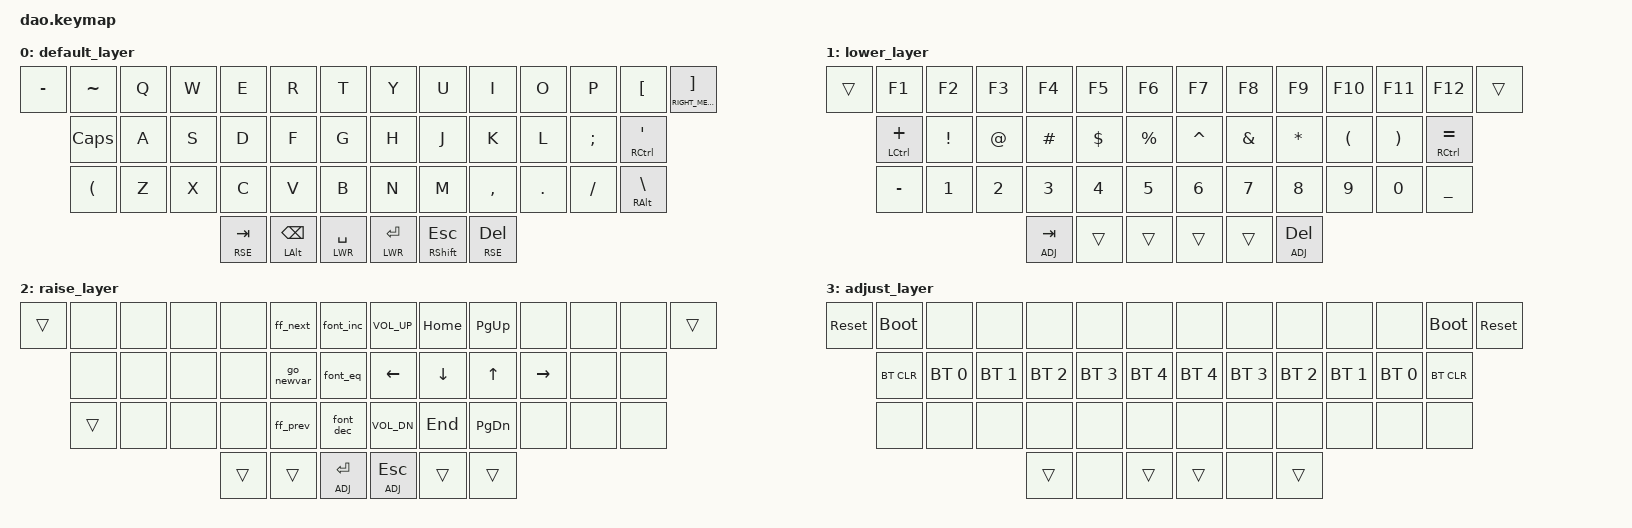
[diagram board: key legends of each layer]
/*
 * Copyright (c) 2021 Rafael Yumagulov
 *
 * SPDX-License-Identifier: MIT
 */

#include <behaviors.dtsi>
#include <dt-bindings/zmk/bt.h>
#include <dt-bindings/zmk/keys.h>

#define DEF 0
#define LWR 1
#define RSE 2
#define ADJ 3

&lt { quick_tap_ms = <200>; };

&mt { quick_tap_ms = <200>; };

/ {
    chosen {
        // zmk,matrix_transform = &default_transform;

        zmk,matrix_transform = &extra_keys_transform;
    };
};

/ {
    macros {
        font_inc: font_inc {
            compatible = "zmk,behavior-macro";
            #binding-cells = <0>;
            bindings = <&kp LC(EQUAL)>;
            label = "FONT_INC";
        };

        font_eq: font_eq {
            compatible = "zmk,behavior-macro";
            #binding-cells = <0>;
            bindings = <&kp LC(NUMBER_0)>;
            label = "FONT_EQ";
        };

        font_dec: font_dec {
            compatible = "zmk,behavior-macro";
            #binding-cells = <0>;
            bindings = <&kp LC(MINUS)>;
            label = "FONT_DEC";
        };

        ff_prev: ff_prev {
            compatible = "zmk,behavior-macro";
            #binding-cells = <0>;
            bindings = <&kp LC(PAGE_UP)>;
            label = "FF_PREV";
        };

        ff_next: ff_next {
            compatible = "zmk,behavior-macro";
            #binding-cells = <0>;
            bindings = <&kp LC(PAGE_DOWN)>;
            label = "FF_NEXT";
        };

        go_newvar: go_newvar {
            compatible = "zmk,behavior-macro";
            #binding-cells = <0>;
            bindings = <&kp COLON &kp EQUAL>;
            label = "GO_NEWVAR";
        };
    };

    keymap {
        compatible = "zmk,keymap";

        default_layer {
            bindings = <
&kp MINUS  &kp TILDE             &kp Q  &kp W  &kp E        &kp R                   &kp T            &kp Y        &kp U             &kp I           &kp O    &kp P     &kp LBKT       &mt RIGHT_META RIGHT_BRACKET
           &kp CAPSLOCK          &kp A  &kp S  &kp D        &kp F                   &kp G            &kp H        &kp J             &kp K           &kp L    &kp SEMI  &mt RCTRL SQT
           &kp LEFT_PARENTHESIS  &kp Z  &kp X  &kp C        &kp V                   &kp B            &kp N        &kp M             &kp COMMA       &kp DOT  &kp FSLH  &mt RALT BSLH
                                               &lt RSE TAB  &mt LEFT_ALT BACKSPACE  &lt LWR SPACE    &lt LWR RET  &mt RSHFT ESCAPE  &lt RSE DELETE
            >;
        };

        lower_layer {
            bindings = <
&trans  &kp F1          &kp F2    &kp F3  &kp F4       &kp F5    &kp F6       &kp F7     &kp F8    &kp F9       &kp F10               &kp F11                &kp F12          &trans
        &mt LCTRL PLUS  &kp EXCL  &kp AT  &kp HASH     &kp DLLR  &kp PRCNT    &kp CARET  &kp AMPS  &kp STAR     &kp LEFT_PARENTHESIS  &kp RIGHT_PARENTHESIS  &mt RCTRL EQUAL
        &kp MINUS       &kp N1    &kp N2  &kp N3       &kp N4    &kp N5       &kp N6     &kp N7    &kp N8       &kp N9                &kp N0                 &kp UNDERSCORE
                                          &lt ADJ TAB  &trans    &trans       &trans     &trans    &lt ADJ DEL
            >;
        };

        raise_layer {
            bindings = <
&trans  &none   &none  &none  &none   &ff_next    &font_inc      &kp C_VOL_UP    &kp HOME        &kp PAGE_UP    &none      &none  &none  &trans
        &none   &none  &none  &none   &go_newvar  &font_eq       &kp LEFT_ARROW  &kp DOWN_ARROW  &kp UP         &kp RIGHT  &none  &none
        &trans  &none  &none  &none   &ff_prev    &font_dec      &kp C_VOL_DN    &kp END         &kp PAGE_DOWN  &none      &none  &none
                              &trans  &trans      &lt ADJ RET    &lt ADJ ESC     &trans          &trans
            >;
        };

        adjust_layer {
            bindings = <
&sys_reset  &bootloader  &none         &none         &none         &none         &none           &none         &none         &none         &none         &none         &bootloader  &sys_reset
            &bt BT_CLR   &bt BT_SEL 0  &bt BT_SEL 1  &bt BT_SEL 2  &bt BT_SEL 3  &bt BT_SEL 4    &bt BT_SEL 4  &bt BT_SEL 3  &bt BT_SEL 2  &bt BT_SEL 1  &bt BT_SEL 0  &bt BT_CLR
            &none        &none         &none         &none         &none         &none           &none         &none         &none         &none         &none         &none
                                                     &trans        &none         &trans          &trans        &none         &trans
            >;
        };
    };
};
